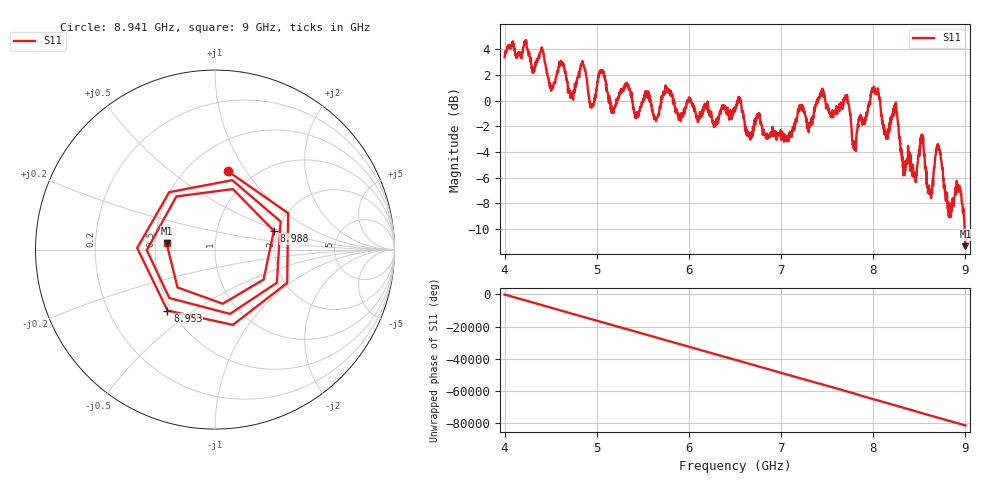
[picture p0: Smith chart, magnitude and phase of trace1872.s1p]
! Created with skrf 1.8.0 (http://scikit-rf.org).
# Hz S RI R 50.0
!freq ReS11 ImS11
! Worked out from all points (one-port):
!   1601 points, 4 GHz to 9 GHz, reference 50 ohm
!   lowest |S11| = -11.3 dB at 9 GHz (marker M1), VSWR 1.75, Z = 28.7 + j2.14 ohm
!   |S11| at or under -10 dB: 8.99143 GHz to end of sweep
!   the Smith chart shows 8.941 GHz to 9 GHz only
!   S11 on the Smith chart (normalised r, x): 8.941 GHz: 0.77, +0.83; 8.953 GHz: 0.47, -0.40; 8.988 GHz: 1.91, +0.45; 9 GHz: 0.57, +0.04
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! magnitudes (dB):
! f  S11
! 4 GHz  3.4
! 4.406 GHz  4.1
! 4.506 GHz  0.8
! 4.625 GHz  2.9
! 4.728 GHz  0.6
! 4.853 GHz  2.8
! 4.947 GHz  -0.5
! 5.047 GHz  2.1
! 5.169 GHz  -1.0
! 5.25 GHz  0.5
! 5.875 GHz  -1.0
! 6.5 GHz  -0.8
! 7.125 GHz  -2.3
! 7.444 GHz  0.4
! 7.75 GHz  -1.1
! 7.794 GHz  -3.5
! 8.031 GHz  0.6
! 8.134 GHz  -2.4
! 8.241 GHz  -0.2
! 8.375 GHz  -4.9
! 8.531 GHz  -3.0
! 8.616 GHz  -7.2
! 8.706 GHz  -3.8
! 8.828 GHz  -8.7
! 8.941 GHz  -7.1
! 8.953 GHz  -7.3
! 8.988 GHz  -9.3
! 9 GHz  -11.3
